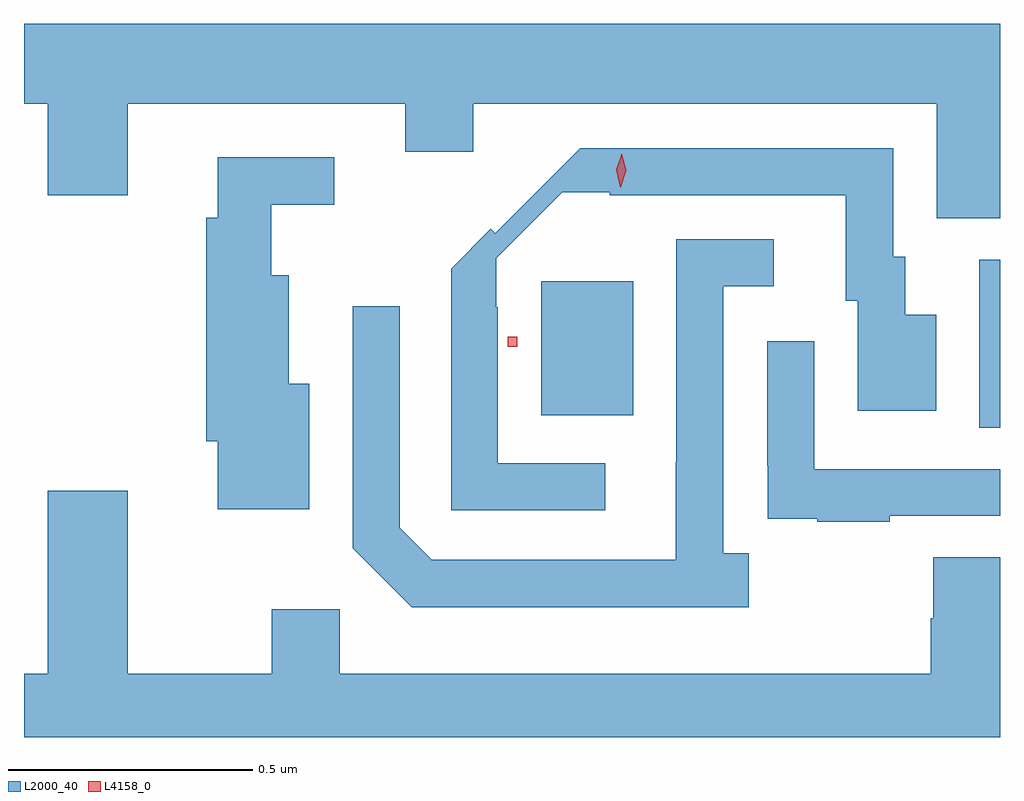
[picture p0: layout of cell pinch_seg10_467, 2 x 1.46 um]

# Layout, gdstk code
import gdstk
lib = gdstk.Library(unit=1e-6, precision=1e-09)
def R(c, l, rs):  # rectangles x0, y0, x1, y1
    for r in rs: c.add(gdstk.rectangle(r[:2], r[2:], *l))
def P(c, l, *ps):  # polygons
    for p in ps: c.add(gdstk.Polygon(p, *l))
L2000_40 = (2000, 40)
L4158_0 = (4158, 0)

pinch_seg10_467 = lib.new_cell('pinch_seg10_467')
R(pinch_seg10_467, L2000_40, [(358.724,1300.984,358.767,1301.328), (357.827,1301.009,358.015,1301.284)])
P(pinch_seg10_467, L2000_40, [(358.767,1301.812),(356.767,1301.812),(356.767,1301.648),(356.816,1301.648),(356.816,1301.46),(356.98,1301.46),(356.98,1301.648),(357.548,1301.648),(357.548,1301.549),(357.688,1301.549),(357.688,1301.648),(358.637,1301.648),(358.637,1301.413),(358.767,1301.413)],
  [(357.958,1300.911),(357.738,1300.911),(357.738,1301.231),(357.735,1301.231),(357.735,1301.331),(357.87,1301.466),(357.967,1301.466),(357.967,1301.46),(358.451,1301.46),(358.451,1301.244),(358.475,1301.244),(358.475,1301.019),(358.636,1301.019),(358.636,1301.215),(358.573,1301.215),(358.573,1301.334),(358.548,1301.334),(358.548,1301.556),(357.907,1301.556),(357.733,1301.382),(357.723,1301.391),(357.642,1301.309),(357.642,1300.815),(357.958,1300.815)],
  [(357.352,1301.074),(357.31,1301.074),(357.31,1301.296),(357.274,1301.296),(357.274,1301.441),(357.403,1301.441),(357.403,1301.538),(357.164,1301.538),(357.164,1301.414),(357.14,1301.414),(357.14,1300.956),(357.164,1300.956),(357.164,1300.817),(357.352,1300.817)],
  [(358.252,1300.726),(358.2,1300.726),(358.2,1301.274),(358.303,1301.274),(358.303,1301.37),(358.104,1301.37),(358.104,1300.913),(358.103,1300.913),(358.103,1300.713),(357.603,1300.713),(357.537,1300.779),(357.537,1301.233),(357.441,1301.233),(357.441,1300.737),(357.562,1300.616),(358.252,1300.616)],
  [(358.541,1300.803),(358.767,1300.803),(358.767,1300.899),(358.386,1300.899),(358.386,1301.161),(358.29,1301.161),(358.29,1300.906),(358.291,1300.906),(358.291,1300.797),(358.393,1300.797),(358.393,1300.791),(358.541,1300.791)],
  [(358.767,1300.718),(358.63,1300.718),(358.63,1300.593),(358.625,1300.593),(358.625,1300.48),(357.414,1300.48),(357.414,1300.612),(357.275,1300.612),(357.275,1300.48),(356.98,1300.48),(356.98,1300.855),(356.816,1300.855),(356.816,1300.48),(356.767,1300.48),(356.767,1300.349),(358.767,1300.349)])
R(pinch_seg10_467, L4158_0, [(357.758,1301.15,357.778,1301.17)])
P(pinch_seg10_467, L4158_0, [(357.989,1301.477),(357.981,1301.512),(357.992,1301.545),(357.992,1301.545),(357.992,1301.545),(358.001,1301.511),(357.99,1301.477),(357.99,1301.477)])

lib.write_gds('pinch_seg10_467.gds')
